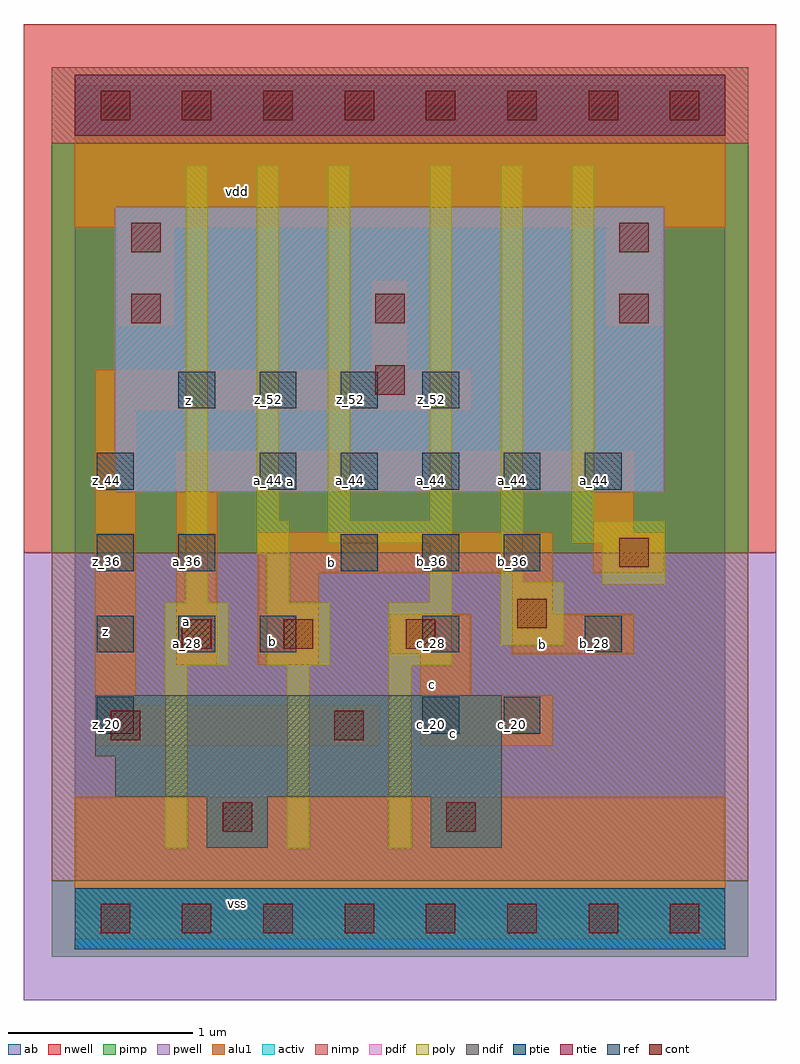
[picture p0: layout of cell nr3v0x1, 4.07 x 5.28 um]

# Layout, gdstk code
import gdstk
lib = gdstk.Library(unit=1e-6, precision=2.5e-09)
def R(c, l, rs):  # rectangles x0, y0, x1, y1
    for r in rs: c.add(gdstk.rectangle(r[:2], r[2:], *l))
def A(c, l, x, y, w, h, nx, ny, dx, dy):  # array of equal rectangles
    R(c, l, [(x+i*dx, y+j*dy, x+i*dx+w, y+j*dy+h) for i in range(nx) for j in range(ny)])
ndif = (3, 0)
pdif = (4, 0)
ntie = (5, 0)
ptie = (6, 0)
ref = (24, 0)
cont = (25, 0)
pwell = (41, 0)
nwell = (42, 0)
activ = (43, 0)
pimp = (44, 0)
nimp = (45, 0)
poly = (46, 0)
alu1 = (49, 0)
ab = (63, 0)

nr3v0x1 = lib.new_cell('nr3v0x1')
R(nr3v0x1, ndif, [(0.715,0.385,1.045,0.66), (1.925,0.385,2.31,0.66), (0.22,0.66,2.31,0.88), (0.11,0.88,2.31,1.21)])
R(nr3v0x1, pdif, [(0.22,2.31,3.19,3.85)])
R(nr3v0x1, ntie, [(0,4.235,3.52,4.565)])
R(nr3v0x1, ptie, [(0,-0.165,3.52,0.165)])
A(nr3v0x1, ref, 0.12, 1.44, 0.2, 0.2, 3, 1, 0.44, 0)
A(nr3v0x1, ref, 1.44, 1.88, 0.2, 0.2, 3, 1, 0.44, 0)
A(nr3v0x1, ref, 1, 2.32, 0.2, 0.2, 5, 1, 0.44, 0)
A(nr3v0x1, ref, 0.56, 2.76, 0.2, 0.2, 4, 1, 0.44, 0)
R(nr3v0x1, ref, [(0.12,1,0.32,1.2), (1.88,1,2.08,1.2), (2.32,1,2.52,1.2), (1.88,1.44,2.08,1.64), (2.76,1.44,2.96,1.64), (0.12,1.88,0.32,2.08), (0.56,1.88,0.76,2.08), (0.12,2.32,0.32,2.52)])
A(nr3v0x1, cont, 0.14, -0.08, 0.16, 0.16, 8, 2, 0.44, 4.4)
A(nr3v0x1, cont, 0.305, 3.22, 0.16, 0.16, 3, 1, 1.32, 0)
R(nr3v0x1, cont, [(0.8,0.47,0.96,0.63), (2.01,0.47,2.17,0.63), (0.195,0.965,0.355,1.125), (1.405,0.965,1.565,1.125), (0.58,1.46,0.74,1.62), (1.13,1.46,1.29,1.62), (1.79,1.46,1.95,1.62), (2.395,1.57,2.555,1.73), (2.945,1.9,3.105,2.06), (1.625,2.835,1.785,2.995), (0.305,3.605,0.465,3.765), (2.945,3.605,3.105,3.765)])
R(nr3v0x1, pwell, [(-0.275,-0.44,3.795,1.98)])
R(nr3v0x1, nwell, [(-0.275,1.98,3.795,4.84)])
R(nr3v0x1, activ, [(0,-0.165,3.52,0.165), (0.715,0.385,1.045,0.66), (1.925,0.385,2.31,0.66), (0.22,0.66,2.31,0.88), (0.11,0.88,2.31,1.21), (0.22,2.31,3.19,3.85), (0,4.235,3.52,4.565)])
R(nr3v0x1, pimp, [(-0.125,-0.205,3.645,0.205), (-0.125,1.98,3.645,4.195)])
R(nr3v0x1, nimp, [(-0.125,0.205,3.645,1.98), (-0.125,4.195,3.645,4.605)])
R(nr3v0x1, poly, [(0.49,0.38,0.61,1.37), (1.15,0.38,1.27,1.37), (1.7,0.38,1.82,1.37), (0.49,1.37,0.83,1.71), (1.04,1.37,1.38,1.71), (1.7,1.37,2.04,1.71), (2.305,1.48,2.645,1.82), (0.6,1.71,0.72,4.075), (1.04,1.71,1.16,1.975), (1.92,1.71,2.04,2.03), (2.855,1.81,3.195,2.03), (2.305,1.82,2.425,4.075), (0.985,1.975,1.16,2.15), (1.37,2.03,2.04,2.15), (2.69,2.03,3.195,2.15), (0.985,2.15,1.105,4.075), (1.37,2.15,1.49,4.075), (1.92,2.15,2.04,4.075), (2.69,2.15,2.81,4.075)])
R(nr3v0x1, alu1, [(0,-0.11,3.52,0.66), (0.11,0.935,1.65,1.155), (1.87,0.935,2.585,1.21), (0.11,1.155,0.33,2.75), (1.87,1.21,2.145,1.43), (0.55,1.375,0.77,2.31), (0.99,1.375,1.32,1.87), (1.705,1.43,2.145,1.65), (2.365,1.43,3.025,1.65), (2.365,1.65,2.585,1.87), (0.99,1.87,2.585,2.09), (2.805,1.87,3.19,2.09), (2.805,2.09,3.025,2.31), (0.55,2.31,3.025,2.53), (0.11,2.75,2.145,2.97), (1.61,2.97,1.8,3.45), (0.235,3.205,0.535,3.74), (2.875,3.205,3.175,3.74), (0,3.74,3.52,4.51)])
R(nr3v0x1, ab, [(0,0,3.52,4.4)])
nr3v0x1.add(gdstk.Label('vss', (0.88,0.0825), layer=49, texttype=0))
nr3v0x1.add(gdstk.Label('c', (2.0475,1.0025), layer=49, texttype=0))
nr3v0x1.add(gdstk.Label('c', (1.9375,1.265), layer=49, texttype=0))
nr3v0x1.add(gdstk.Label('b', (2.53,1.485), layer=49, texttype=0))
nr3v0x1.add(gdstk.Label('b', (1.0725,1.4975), layer=49, texttype=0))
nr3v0x1.add(gdstk.Label('b', (1.3875,1.925), layer=49, texttype=0))
nr3v0x1.add(gdstk.Label('a', (0.605,1.6075), layer=49, texttype=0))
nr3v0x1.add(gdstk.Label('a', (1.1675,2.365), layer=49, texttype=0))
nr3v0x1.add(gdstk.Label('z', (0.165,1.5525), layer=49, texttype=0))
nr3v0x1.add(gdstk.Label('z', (0.6175,2.805), layer=49, texttype=0))
nr3v0x1.add(gdstk.Label('vdd', (0.88,3.9325), layer=49, texttype=0))
nr3v0x1.add(gdstk.Label('a_28', (0.61,1.49), layer=24, texttype=0))
nr3v0x1.add(gdstk.Label('a_36', (0.61,1.93), layer=24, texttype=0))
nr3v0x1.add(gdstk.Label('z_52', (0.61,2.81), layer=24, texttype=0))
nr3v0x1.add(gdstk.Label('b_28', (1.05,1.49), layer=24, texttype=0))
nr3v0x1.add(gdstk.Label('a_44', (1.05,2.37), layer=24, texttype=0))
nr3v0x1.add(gdstk.Label('z_52', (1.05,2.81), layer=24, texttype=0))
nr3v0x1.add(gdstk.Label('b_36', (1.49,1.93), layer=24, texttype=0))
nr3v0x1.add(gdstk.Label('a_44', (1.49,2.37), layer=24, texttype=0))
nr3v0x1.add(gdstk.Label('z_52', (1.49,2.81), layer=24, texttype=0))
nr3v0x1.add(gdstk.Label('c_20', (1.93,1.05), layer=24, texttype=0))
nr3v0x1.add(gdstk.Label('c_28', (1.93,1.49), layer=24, texttype=0))
nr3v0x1.add(gdstk.Label('b_36', (1.93,1.93), layer=24, texttype=0))
nr3v0x1.add(gdstk.Label('a_44', (1.93,2.37), layer=24, texttype=0))
nr3v0x1.add(gdstk.Label('z_52', (1.93,2.81), layer=24, texttype=0))
nr3v0x1.add(gdstk.Label('z_20', (0.17,1.05), layer=24, texttype=0))
nr3v0x1.add(gdstk.Label('z_28', (0.17,1.49), layer=24, texttype=0))
nr3v0x1.add(gdstk.Label('z_36', (0.17,1.93), layer=24, texttype=0))
nr3v0x1.add(gdstk.Label('z_44', (0.17,2.37), layer=24, texttype=0))
nr3v0x1.add(gdstk.Label('c_20', (2.37,1.05), layer=24, texttype=0))
nr3v0x1.add(gdstk.Label('b_36', (2.37,1.93), layer=24, texttype=0))
nr3v0x1.add(gdstk.Label('a_44', (2.37,2.37), layer=24, texttype=0))
nr3v0x1.add(gdstk.Label('b_28', (2.81,1.49), layer=24, texttype=0))
nr3v0x1.add(gdstk.Label('a_44', (2.81,2.37), layer=24, texttype=0))

lib.write_gds('nr3v0x1.gds')
